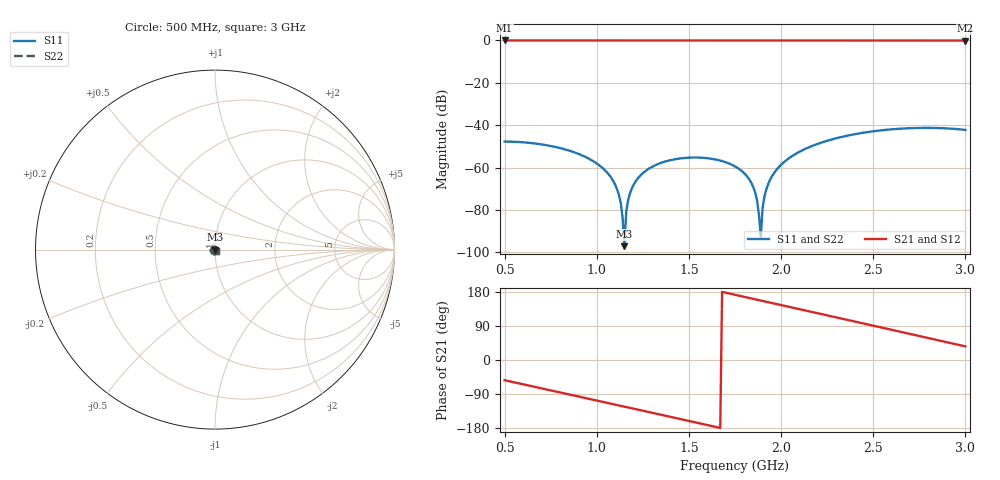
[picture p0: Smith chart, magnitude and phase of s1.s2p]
!freq-unit  param-type  data-format  keyword  impedance-ohms
# GHZ  S  RI  R  50
!Freq  ReS11  ImS11  ReS21  ImS21  ReS12  ImS12  ReS22  ImS22
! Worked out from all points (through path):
!   251 points, 500 MHz to 3 GHz, reference 50 ohm
!   highest |S21| = -0.02 dB at 500 MHz (marker M1); lowest = -0.1 dB at 3 GHz (marker M2)
!   group delay of S21, straight-line fit = 301 ps
!   lowest |S11| = -97.0 dB at 1.15 GHz (marker M3), VSWR 1.00, Z = 50 - j0.00106 ohm
!   |S11| at or under -10 dB: start of sweep to end of sweep
!   |S22| runs from -97.0 to -41.2 dB; largest |S21 - S12| = 0
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0.5  -0.0033 -0.00245  0.5959 -0.8007  0.5959 -0.8007  -0.0033 -0.00245
0.92  -0.00193 0.00028  -0.1449 -0.9867  -0.1449 -0.9867  -0.00193 0.00028
1.07  -0.000592 0.000265  -0.413 -0.9074  -0.413 -0.9074  -0.000592 0.000265
1.11  -0.000275 0.000146  -0.4799 -0.8737  -0.4799 -0.8737  -0.000275 0.000146
1.14  -5.83e-05 3.18e-05  -0.5284 -0.8453  -0.5284 -0.8453  -5.83e-05 3.18e-05
1.15  9.22e-06 -1.06e-05  -0.5441 -0.8352  -0.5441 -0.8352  9.22e-06 -1.06e-05
1.16  7.42e-05 -5.5e-05  -0.5597 -0.8248  -0.5597 -0.8248  7.42e-05 -5.5e-05
1.18  0.000196 -0.000149  -0.5903 -0.8032  -0.5903 -0.8032  0.000196 -0.000149
1.22  0.000407 -0.000353  -0.6489 -0.7565  -0.6489 -0.7565  0.000407 -0.000353
1.34  0.000745 -0.00101  -0.8016 -0.5919  -0.8016 -0.5919  0.000745 -0.00101
1.56  0.000383 -0.00168  -0.9718 -0.2188  -0.9718 -0.2188  0.000383 -0.00168
1.75  -0.000135 -0.00106  -0.9864 0.1363  -0.9864 0.1363  -0.000135 -0.00106
1.83  -0.000131 -0.00049  -0.9545 0.2834  -0.9545 0.2834  -0.000131 -0.00049
1.86  -7.2e-05 -0.000245  -0.9368 0.3371  -0.9368 0.3371  -7.2e-05 -0.000245
1.88  -1.36e-05 -7.57e-05  -0.9234 0.3723  -0.9234 0.3723  -1.36e-05 -7.57e-05
1.89  2.16e-05 1e-05  -0.9162 0.3896  -0.9162 0.3896  2.16e-05 1e-05
1.9  6.09e-05 9.62e-05  -0.9086 0.4069  -0.9086 0.4069  6.09e-05 9.62e-05
1.93  0.000204 0.000356  -0.884 0.4578  -0.884 0.4578  0.000204 0.000356
1.97  0.000453 0.000699  -0.8468 0.5234  -0.8468 0.5234  0.000453 0.000699
2.17  0.00264 0.00193  -0.5927 0.7994  -0.5927 0.7994  0.00264 0.00193
2.59  0.00784 -0.00127  0.1592 0.9817  0.1592 0.9817  0.00784 -0.00127
3  0.00458 -0.00625  0.8047 0.5833  0.8047 0.5833  0.00458 -0.00625
